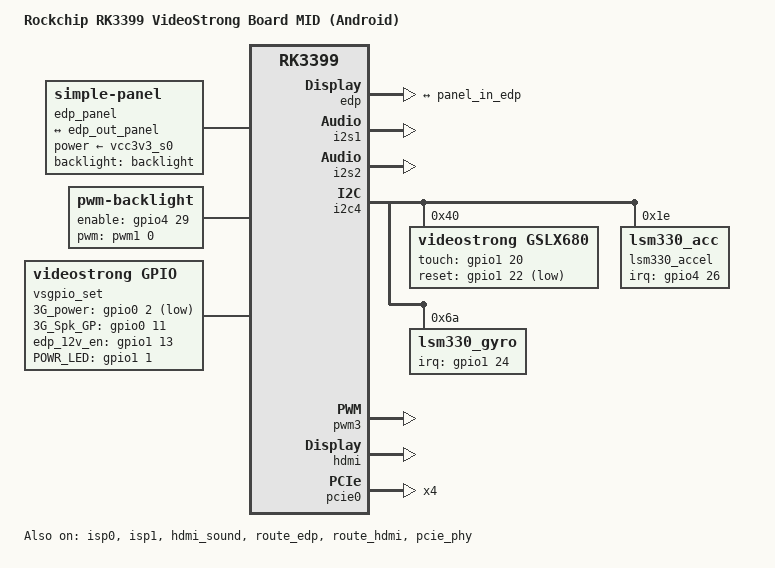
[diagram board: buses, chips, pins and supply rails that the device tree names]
/*
 * Copyright (c) 2016 Fuzhou Rockchip Electronics Co., Ltd
 *
 * This file is dual-licensed: you can use it either under the terms
 * of the GPL or the X11 license, at your option. Note that this dual
 * licensing only applies to this file, and not this project as a
 * whole.
 *
 *  a) This file is free software; you can redistribute it and/or
 *     modify it under the terms of the GNU General Public License as
 *     published by the Free Software Foundation; either version 2 of the
 *     License, or (at your option) any later version.
 *
 *     This file is distributed in the hope that it will be useful,
 *     but WITHOUT ANY WARRANTY; without even the implied warranty of
 *     MERCHANTABILITY or FITNESS FOR A PARTICULAR PURPOSE.  See the
 *     GNU General Public License for more details.
 *
 * Or, alternatively,
 *
 *  b) Permission is hereby granted, free of charge, to any person
 *     obtaining a copy of this software and associated documentation
 *     files (the "Software"), to deal in the Software without
 *     restriction, including without limitation the rights to use,
 *     copy, modify, merge, publish, distribute, sublicense, and/or
 *     sell copies of the Software, and to permit persons to whom the
 *     Software is furnished to do so, subject to the following
 *     conditions:
 *
 *     The above copyright notice and this permission notice shall be
 *     included in all copies or substantial portions of the Software.
 *
 *     THE SOFTWARE IS PROVIDED "AS IS", WITHOUT WARRANTY OF ANY KIND,
 *     EXPRESS OR IMPLIED, INCLUDING BUT NOT LIMITED TO THE WARRANTIES
 *     OF MERCHANTABILITY, FITNESS FOR A PARTICULAR PURPOSE AND
 *     NONINFRINGEMENT. IN NO EVENT SHALL THE AUTHORS OR COPYRIGHT
 *     HOLDERS BE LIABLE FOR ANY CLAIM, DAMAGES OR OTHER LIABILITY,
 *     WHETHER IN AN ACTION OF CONTRACT, TORT OR OTHERWISE, ARISING
 *     FROM, OUT OF OR IN CONNECTION WITH THE SOFTWARE OR THE USE OR
 *     OTHER DEALINGS IN THE SOFTWARE.
 */



/dts-v1/;
#include <dt-bindings/input/input.h>
#include "rk3399-videostrong-board.dtsi"
#include "rk3399-videostrong-android.dtsi"
#include "rk3399-vop-clk-set.dtsi"
#include <dt-bindings/sensor-dev.h>
/ {
	model = "Rockchip RK3399 VideoStrong Board MID (Android)";
	compatible = "rockchip,android", "rockchip,rk3399-VideoStrong-boad", "rockchip,rk3399";

	edp_panel: edp-panel {
		compatible = "simple-panel";
		backlight = <&backlight>;
		power-supply = <&vcc3v3_s0>;
		display-timings {
		native-mode = <&f402>;
		f402: timing0 {
				clock-frequency = <132000000>;
				hactive = <2560>;
				vactive = <1600>;
				hback-porch = <48>;
				hfront-porch = <12>;
				vback-porch = <8>;
				vfront-porch = <8>;
				hsync-len = <16>;
				vsync-len = <4>;
				hsync-active = <0>;
				vsync-active = <0>;
				de-active = <0>;
				pixelclk-active = <0>;
				swap-rb = <0>;
				swap-rg = <0>;
				swap-gb = <0>;
			};
		};
		ports {
			panel_in_edp: endpoint {
				remote-endpoint = <&edp_out_panel>;
			};
		};
	};

	backlight: backlight {
		status = "disabled";
		compatible = "pwm-backlight";
		pwms = <&pwm1 0 25000 0>;
		brightness-levels = <
			  0   1   2   3   4   5   6   7
			  8   9  10  11  12  13  14  15
			 16  17  18  19  20  21  22  23
			 24  25  26  27  28  29  30  31
			 32  33  34  35  36  37  38  39
			 40  41  42  43  44  45  46  47
			 48  49  50  51  52  53  54  55
			 56  57  58  59  60  61  62  63
			 64  65  66  67  68  69  70  71
			 72  73  74  75  76  77  78  79
			 80  81  82  83  84  85  86  87
			 88  89  90  91  92  93  94  95
			 96  97  98  99 100 101 102 103
			104 105 106 107 108 109 110 111
			112 113 114 115 116 117 118 119
			120 121 122 123 124 125 126 127
			128 129 130 131 132 133 134 135
			136 137 138 139 140 141 142 143
			144 145 146 147 148 149 150 151
			152 153 154 155 156 157 158 159
			160 161 162 163 164 165 166 167
			168 169 170 171 172 173 174 175
			176 177 178 179 180 181 182 183
			184 185 186 187 188 189 190 191
			192 193 194 195 196 197 198 199
			200 201 202 203 204 205 206 207
			208 209 210 211 212 213 214 215
			216 217 218 219 220 221 222 223
			224 225 226 227 228 229 230 231
			232 233 234 235 236 237 238 239
			240 241 242 243 244 245 246 247
			248 249 250 251 252 253 254 255>;
		default-brightness-level = <200>;
	};
/*
	hdmiin-sound {
		compatible = "rockchip,rockchip-rt5651-tc358749x-sound";
		rockchip,cpu = <&i2s0>;
		rockchip,codec = <&rt5640 &rt5640 &tc358749x>;
		status = "okay";
	};
*/

vsgpio_set {
		compatible = "videostrong,gpio";
		pinctrl-names = "default";
		pinctrl-0 = <&b3G_gpio>;
		3G_power = <&gpio0 2 GPIO_ACTIVE_LOW>;
		3G_Spk_GP = <&gpio0 11 GPIO_ACTIVE_HIGH>;
		edp_12v_en = <&gpio1 13 GPIO_ACTIVE_HIGH>;
		POWR_LED = <&gpio1 1 GPIO_ACTIVE_HIGH>;
		//GPIO_test = <&gpio4 29 GPIO_ACTIVE_HIGH>;
		status = "okay";
	};
};

&backlight {
	status = "okay";
	enable-gpios = <&gpio4 29 GPIO_ACTIVE_HIGH>;

};

&edp {
	status = "okay";

	ports {
		edp_out: port@1 {
			reg = <1>;
			#address-cells = <1>;
			#size-cells = <0>;

			edp_out_panel: endpoint@0 {
				reg = <0>;
				remote-endpoint = <&panel_in_edp>;
			};
		};
	};
};


&i2s1 {
	status = "okay";
	rockchip,i2s-broken-burst-len;
	rockchip,playback-channels = <2>;
	rockchip,capture-channels = <2>;
	#sound-dai-cells = <0>;
};

&i2s2 {
	status = "okay";
};

&i2c4 {
	status = "okay";
	gslx680@40 {
		status = "okay";
		compatible = "videostrong,gslX680";
		reg = <0x40>;
		touch-gpio = <&gpio1 20 IRQ_TYPE_EDGE_RISING>;
		reset-gpio = <&gpio1 22 GPIO_ACTIVE_LOW>;
		max_x = <1536>;
		max_y = <2048>;
	};

/*
	gt9xx@5d {
		status = "okay";
		compatible = "videostrong,gt9xx";
		reg = <0x5d>;
		touch-gpio = <&gpio1 20 IRQ_TYPE_EDGE_RISING>;
		reset-gpio = <&gpio1 22 GPIO_ACTIVE_LOW>;
		tp-size=<911>;
		max-x = <1024>;
		max-y = <600>;
	};
*/

	tc358749x: tc358749x@0f {
		compatible = "toshiba,tc358749x";
		reg = <0x0f>;
		power-gpios = <&gpio2 6 GPIO_ACTIVE_HIGH>;
		power18-gpios = <&gpio2 9 GPIO_ACTIVE_HIGH>;
		power33-gpios = <&gpio2 5 GPIO_ACTIVE_HIGH>;
		csi-ctl-gpios = <&gpio2 10 GPIO_ACTIVE_HIGH>;
		stanby-gpios = <&gpio2 8 GPIO_ACTIVE_HIGH>;
		reset-gpios = <&gpio2 7 GPIO_ACTIVE_HIGH>;
		int-gpios = <&gpio2 12 GPIO_ACTIVE_HIGH>;
		pinctrl-names = "default";
		pinctrl-0 = <&hdmiin_gpios>;
		status = "disabled";
	};

	lsm330_accel@1e {
		status = "okay";
		compatible = "lsm330_acc";
		pinctrl-names = "default";
		pinctrl-0 = <&lsm330a_irq_gpio>;
		reg = <0x1e>;
		irq-gpio = <&gpio4 26 IRQ_TYPE_EDGE_RISING>;
		type = <SENSOR_TYPE_ACCEL>;
		irq_enable = <0>;
		poll_delay_ms = <30>;
		layout = <4>;
	};

	lsm330_gyro@6a {
		status = "okay";
		compatible = "lsm330_gyro";
		pinctrl-names = "default";
		pinctrl-0 = <&lsm330g_irq_gpio>;
		reg = <0x6a>;
		irq-gpio = <&gpio1 24 IRQ_TYPE_EDGE_RISING>;
		type = <SENSOR_TYPE_GYROSCOPE>;
		irq_enable = <0>;
		poll_delay_ms = <30>;
	};
/*
	sensor@0f {
		status = "okay";
		compatible = "ak8963";
		pinctrl-names = "default";
		pinctrl-0 = <&ak8963_irq_gpio>;
		reg = <0x0f>;
		type = <SENSOR_TYPE_COMPASS>;
		irq-gpio = <&gpio4 26 IRQ_TYPE_EDGE_RISING>;
		irq_enable = <0>;
		poll_delay_ms = <30>;
		layout = <3>;
	};

	mma7600@4c {
		status = "okay";
		compatible = "gs_mma7660";
		pinctrl-names = "default";
		pinctrl-0 = <&mma7660_irq_gpio>;
		reg = <0x4c>;
		irq-gpio = <&gpio4 26 IRQ_TYPE_EDGE_RISING>;
		type = <SENSOR_TYPE_ACCEL>;
		irq_enable = <1>;
		poll_delay_ms = <30>;
	};
*/
};

&pwm3 {
	status = "okay";
	interrupts = <GIC_SPI 61 IRQ_TYPE_LEVEL_HIGH 0>;
	compatible = "rockchip,remotectl-pwm";
	remote_pwm_id = <3>;
	handle_cpu_id = <0>;

	ir_key0 {
		rockchip,usercode = <0xff00>;
		rockchip,key_table =
			<0xa6	KEY_POWER>,
			<0xf2	KEY_HOME>,
			<0xfa	KEY_BACK>,
			<0xba	KEY_MENU>,
			<0xf9	KEY_UP>,
			<0xe9	KEY_DOWN>,
			<0xa5	KEY_LEFT>,
			<0xe4	KEY_RIGHT>,
			<0xe5	KEY_ENTER>,
			<0xec	KEY_VOLUMEUP>,
			<0xe8	KEY_VOLUMEDOWN>,
			<0xe6	KEY_MUTE>,
			<0xed	388>,
			<0xad	KEY_1>,
			<0xaf	KEY_2>,
			<0xef	KEY_3>,
			<0xa9	KEY_4>,
			<0xab	KEY_5>,
			<0xeb	KEY_6>,
			<0xb1	KEY_7>,
			<0xb3	KEY_8>,
			<0xf3	KEY_9>,
			<0xf0	KEY_0>,
			<0xae	KEY_BACKSPACE>,
			<0xde	KEY_SEARCH>;
	};
	ir_key1 {
		rockchip,usercode = <0xfe01>;
		rockchip,key_table =
			<0xb0	KEY_BACK>,
			<0xb4	KEY_F12>,
			<0xb2	KEY_F11>,
			<0xed	388>,
			<0xde	KEY_SEARCH>;
	};
};

&isp0 {
	status = "okay";
};

&isp1 {
	status = "okay";
};

&isp0_mmu {
	status = "okay";
};

&isp1_mmu {
	status = "okay";
};

&hdmi {
	status = "okay";
};

&hdmi_sound {
	status = "okay";
};


&route_edp {
	status = "okay";
	connect = <&vopl_out_edp>;
};

&route_hdmi {
	status = "okay";
	connect = <&vopb_out_hdmi>;
};

&hdmi_in_vopl {
	status = "disabled";
};

&edp_in_vopb {
	status = "disabled";
};


&vopb {
	assigned-clocks = <&cru DCLK_VOP0_DIV>;
	assigned-clock-parents = <&cru PLL_VPLL>;
};

&vopl {
	assigned-clocks = <&cru DCLK_VOP1_DIV>;
	assigned-clock-parents = <&cru PLL_CPLL>;
};

&pcie_phy {
	status = "okay";
};

&pcie0 {
	ep-gpios = <&gpio2 4 GPIO_ACTIVE_HIGH>;
	num-lanes = <4>;
	pinctrl-names = "default";
	pinctrl-0 = <&pcie_clkreqn>;
	status = "okay";
};

&pinctrl {
	lcd-panel {
		lcd_panel_reset: lcd-panel-reset {
			rockchip,pins = <4 30 RK_FUNC_GPIO &pcfg_pull_up>;
		};
	};

	hdmiin {
		hdmiin_gpios: hdmiin_gpios {
		rockchip,pins =
				<2 5 RK_FUNC_GPIO &pcfg_pull_none>,
				<2 6 RK_FUNC_GPIO &pcfg_pull_none>,
				<2 7 RK_FUNC_GPIO &pcfg_pull_none>,
				<2 8 RK_FUNC_GPIO &pcfg_pull_none>,
				<2 9 RK_FUNC_GPIO &pcfg_pull_none>,
				<2 12 RK_FUNC_GPIO &pcfg_pull_none>;
		};
	};
	ak8963{
	    ak8963_irq_gpio:ak8963_irq_gpio{
		rockchip,pins = <4 26 RK_FUNC_GPIO &pcfg_pull_none>;
		};
	};
	mma7660 {
		mma7660_irq_gpio: mma7660_irq_gpio {
			rockchip,pins = <4 26 RK_FUNC_GPIO &pcfg_pull_none>;
		};
	};

	lsm330_a {
		lsm330a_irq_gpio: lsm330a-irq-gpio {
			rockchip,pins = <4 26 RK_FUNC_GPIO &pcfg_pull_none>;
		};
	};

	lsm330_g {
		lsm330g_irq_gpio: lsm330g-irq-gpio {
			rockchip,pins = <1 24 RK_FUNC_GPIO &pcfg_pull_none>;
		};
	};

	vsgpio_back {
		b3G_gpio: b3G_gpio {
			rockchip,pins = <0 2 RK_FUNC_GPIO &pcfg_pull_up>;
		};
	};
};

